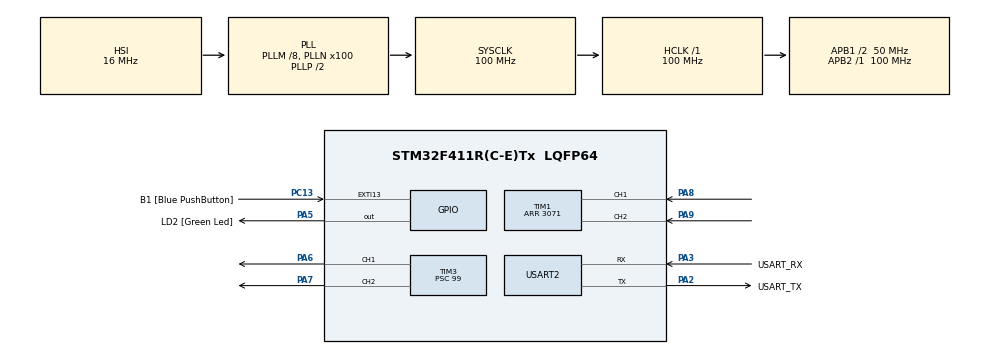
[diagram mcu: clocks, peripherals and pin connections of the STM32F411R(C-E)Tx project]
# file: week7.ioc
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Mcu.Family=STM32F4
RCC.CortexFreq_Value=100000000
PA14.GPIO_Label=TCK
TIM1.EncoderMode=TIM_ENCODERMODE_TI12
RCC.SYSCLKSource=RCC_SYSCLKSOURCE_PLLCLK
ProjectManager.StackSize=0x400
PH0\ -\ OSC_IN.Signal=RCC_OSC_IN
RCC.HCLKFreq_Value=100000000
RCC.APB2TimFreq_Value=100000000
TIM3.Period=10000
RCC.AHBFreq_Value=100000000
TIM3.Channel-PWM\ Generation1\ CH1=TIM_CHANNEL_1
RCC.HSE_VALUE=8000000
PC13-ANTI_TAMP.Signal=GPXTI13
PC14-OSC32_IN.Mode=LSE-External-Oscillator
PA14.Mode=Serial_Wire
TIM3.Prescaler=99
NVIC.TIM2_IRQn=true\:0\:0\:false\:false\:true\:true\:true
PA8.Signal=S_TIM1_CH1
SH.S_TIM3_CH1.0=TIM3_CH1,PWM Generation1 CH1
RCC.FLatency-AdvancedSettings=FLASH_LATENCY_3
Mcu.Package=LQFP64
TIM2.Prescaler=99
PA6.Signal=S_TIM3_CH1
USART2.VirtualMode=VM_ASYNC
PA2.GPIO_Label=USART_TX
RCC.APB1TimFreq_Value=100000000
TIM3.Pulse-PWM\ Generation2\ CH2=5000
TIM1.Period=3071
VP_TIM3_VS_ClockSourceINT.Mode=Internal
PA3.Signal=USART2_RX
PB3.GPIO_Label=SWO
PC15-OSC32_OUT.Mode=LSE-External-Oscillator
PC13-ANTI_TAMP.GPIO_Label=B1 [Blue PushButton]
PH1\ -\ OSC_OUT.Mode=HSE-External-Clock-Source
RCC.APB1CLKDivider=RCC_HCLK_DIV2
PC14-OSC32_IN.Signal=RCC_OSC32_IN
PA13.Signal=SYS_JTMS-SWDIO
PA3.Mode=Asynchronous
PH0\ -\ OSC_IN.Mode=HSE-External-Clock-Source
TIM3.Pulse-PWM\ Generation1\ CH1=5000
SH.S_TIM1_CH1.0=TIM1_CH1,Encoder_Interface
ProjectManager.TargetToolchain=STM32CubeIDE
PA9.Signal=S_TIM1_CH2
PC15-OSC32_OUT.Signal=RCC_OSC32_OUT
PA5.Signal=GPIO_Output
SH.S_TIM3_CH2.0=TIM3_CH2,PWM Generation2 CH2
PH1\ -\ OSC_OUT.Signal=RCC_OSC_OUT
board=NUCLEO-F411RE
RCC.VCOOutputFreq_Value=200000000
NVIC.TIM3_IRQn=true\:0\:0\:false\:false\:true\:true\:true
RCC.APB2Freq_Value=100000000
SH.S_TIM1_CH2.0=TIM1_CH2,Encoder_Interface
VP_TIM2_VS_ClockSourceINT.Mode=Internal
TIM2.Period=10000
PA13.Mode=Serial_Wire
Mcu.Name=STM32F411R(C-E)Tx
PA13.GPIO_Label=TMS
PA2.Signal=USART2_TX
RCC.48MHZClocksFreq_Value=50000000
PB3.Signal=SYS_JTDO-SWO
RCC.SYSCLKFreq_VALUE=100000000
PA5.GPIO_Label=LD2 [Green Led]
PC13-ANTI_TAMP.GPIO_ModeDefaultEXTI=GPIO_MODE_IT_FALLING
PA14.Signal=SYS_JTCK-SWCLK
ProjectManager.HeapSize=0x200
RCC.HSI_VALUE=16000000
NVIC.PriorityGroup=NVIC_PRIORITYGROUP_0
TIM3.Channel-PWM\ Generation2\ CH2=TIM_CHANNEL_2
RCC.PLLM=8
RCC.PLLN=100
PA2.Mode=Asynchronous
RCC.APB1Freq_Value=50000000
PA3.GPIO_Label=USART_RX
PA7.Signal=S_TIM3_CH2

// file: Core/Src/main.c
/* USER CODE BEGIN Header */
/**
 ******************************************************************************
 * @file           : main.c
 * @brief          : Main program body
 ******************************************************************************
 * @attention
 *
 * <h2><center>&copy; Copyright (c) 2021 STMicroelectronics.
 * All rights reserved.</center></h2>
 *
 * This software component is licensed by ST under BSD 3-Clause license,
 * the "License"; You may not use this file except in compliance with the
 * License. You may obtain a copy of the License at:
 *                        opensource.org/licenses/BSD-3-Clause
 *
 ******************************************************************************
 */
/* USER CODE END Header */
#include "main.h"

TIM_HandleTypeDef htim1;
TIM_HandleTypeDef htim2;
TIM_HandleTypeDef htim3;

UART_HandleTypeDef huart2;

/* USER CODE BEGIN PV */
uint64_t _micros = 0;
float EncoderVel = 0;
float rpm = 0;
float error =0;
float p_error=0;
float s_error=0;
float setpoint = 30;
uint16_t PWMOut =10000;
float K_P = 160;
float K_I = 0.1;
float K_D = 10;
uint64_t Timestamp_Encoder = 0;
/* USER CODE END PV */

void SystemClock_Config(void);
static void MX_GPIO_Init(void);
static void MX_USART2_UART_Init(void);
static void MX_TIM1_Init(void);
static void MX_TIM2_Init(void);
static void MX_TIM3_Init(void);
/* USER CODE BEGIN PFP */
uint64_t micros();
float EncoderVelocity_Update();

/* USER CODE END PFP */

int main(void)
{

  /* MCU Configuration--------------------------------------------------------*/

  /* Reset of all peripherals, Initializes the Flash interface and the Systick. */
  HAL_Init();

  /* Configure the system clock */
  SystemClock_Config();

  /* Initialize all configured peripherals */
  MX_GPIO_Init();
  MX_USART2_UART_Init();
  MX_TIM1_Init();
  MX_TIM2_Init();
  MX_TIM3_Init();
  /* USER CODE BEGIN 2 */
	HAL_TIM_Base_Start_IT(&htim2);
	HAL_TIM_Encoder_Start(&htim1, TIM_CHANNEL_ALL);
	HAL_TIM_Base_Start(&htim3);
	HAL_TIM_PWM_Start(&htim3, TIM_CHANNEL_1);//pa6
	HAL_TIM_PWM_Start(&htim3, TIM_CHANNEL_2);//pa7
  /* USER CODE END 2 */

  /* Infinite loop */
	while (1)
	{

    /* USER CODE BEGIN 3 */

		//RAW Read
		if (micros() - Timestamp_Encoder >= 1000)
		{
			if(PWMOut >10000){
				PWMOut =10000;}
			if(PWMOut<-10000){
				PWMOut=-10000;
			}
			if(PWMOut <=10000 & PWMOut>=-10000)
			{
				Timestamp_Encoder = micros();
				EncoderVel = (EncoderVel * 249 + EncoderVelocity_Update()) / 250.0;
				if(setpoint>=0)
				{
					rpm = EncoderVel*60.0/3072.0;
					error = setpoint - rpm;
					s_error += error;
					PWMOut = (K_P*error)+(K_I*s_error)+(K_D*(error-p_error));
					__HAL_TIM_SET_COMPARE(&htim3, TIM_CHANNEL_1, PWMOut);
					__HAL_TIM_SET_COMPARE(&htim3, TIM_CHANNEL_2, 0);
					p_error = error;
				}
				if(setpoint<0)
				{
					rpm = EncoderVel*60.0/3072.0;
					error = fabs(setpoint)-fabs(rpm);
					s_error += error;
					PWMOut = (K_P*error)+(K_I*s_error)+(K_D*(error-p_error));
					__HAL_TIM_SET_COMPARE(&htim3, TIM_CHANNEL_1, 0);
					__HAL_TIM_SET_COMPARE(&htim3, TIM_CHANNEL_2, PWMOut);
					p_error = error;

				}
			}

//		}

		//Add LPF?
//		if (micros() - Timestamp_Encoder >= 100)
//		{
//			Timestamp_Encoder = micros();
//			EncoderVel = (EncoderVel * 99 + EncoderVelocity_Update()) / 100.0;
		}

	}
  /* USER CODE END 3 */
}

void SystemClock_Config(void)
{
  RCC_OscInitTypeDef RCC_OscInitStruct = {0};
  RCC_ClkInitTypeDef RCC_ClkInitStruct = {0};

  /** Configure the main internal regulator output voltage
  */
  __HAL_RCC_PWR_CLK_ENABLE();
  __HAL_PWR_VOLTAGESCALING_CONFIG(PWR_REGULATOR_VOLTAGE_SCALE1);
  /** Initializes the RCC Oscillators according to the specified parameters
  * in the RCC_OscInitTypeDef structure.
  */
  RCC_OscInitStruct.OscillatorType = RCC_OSCILLATORTYPE_HSI;
  RCC_OscInitStruct.HSIState = RCC_HSI_ON;
  RCC_OscInitStruct.HSICalibrationValue = RCC_HSICALIBRATION_DEFAULT;
  RCC_OscInitStruct.PLL.PLLState = RCC_PLL_ON;
  RCC_OscInitStruct.PLL.PLLSource = RCC_PLLSOURCE_HSI;
  RCC_OscInitStruct.PLL.PLLM = 8;
  RCC_OscInitStruct.PLL.PLLN = 100;
  RCC_OscInitStruct.PLL.PLLP = RCC_PLLP_DIV2;
  RCC_OscInitStruct.PLL.PLLQ = 4;
  if (HAL_RCC_OscConfig(&RCC_OscInitStruct) != HAL_OK)
  {
    Error_Handler();
  }
  /** Initializes the CPU, AHB and APB buses clocks
  */
  RCC_ClkInitStruct.ClockType = RCC_CLOCKTYPE_HCLK|RCC_CLOCKTYPE_SYSCLK
                              |RCC_CLOCKTYPE_PCLK1|RCC_CLOCKTYPE_PCLK2;
  RCC_ClkInitStruct.SYSCLKSource = RCC_SYSCLKSOURCE_PLLCLK;
  RCC_ClkInitStruct.AHBCLKDivider = RCC_SYSCLK_DIV1;
  RCC_ClkInitStruct.APB1CLKDivider = RCC_HCLK_DIV2;
  RCC_ClkInitStruct.APB2CLKDivider = RCC_HCLK_DIV1;

  if (HAL_RCC_ClockConfig(&RCC_ClkInitStruct, FLASH_LATENCY_3) != HAL_OK)
  {
    Error_Handler();
  }
}

static void MX_TIM1_Init(void)
{

  TIM_Encoder_InitTypeDef sConfig = {0};
  TIM_MasterConfigTypeDef sMasterConfig = {0};

  htim1.Instance = TIM1;
  htim1.Init.Prescaler = 0;
  htim1.Init.CounterMode = TIM_COUNTERMODE_UP;
  htim1.Init.Period = 3071;
  htim1.Init.ClockDivision = TIM_CLOCKDIVISION_DIV1;
  htim1.Init.RepetitionCounter = 0;
  htim1.Init.AutoReloadPreload = TIM_AUTORELOAD_PRELOAD_DISABLE;
  sConfig.EncoderMode = TIM_ENCODERMODE_TI12;
  sConfig.IC1Polarity = TIM_ICPOLARITY_RISING;
  sConfig.IC1Selection = TIM_ICSELECTION_DIRECTTI;
  sConfig.IC1Prescaler = TIM_ICPSC_DIV1;
  sConfig.IC1Filter = 0;
  sConfig.IC2Polarity = TIM_ICPOLARITY_RISING;
  sConfig.IC2Selection = TIM_ICSELECTION_DIRECTTI;
  sConfig.IC2Prescaler = TIM_ICPSC_DIV1;
  sConfig.IC2Filter = 0;
  if (HAL_TIM_Encoder_Init(&htim1, &sConfig) != HAL_OK)
  {
    Error_Handler();
  }
  sMasterConfig.MasterOutputTrigger = TIM_TRGO_RESET;
  sMasterConfig.MasterSlaveMode = TIM_MASTERSLAVEMODE_DISABLE;
  if (HAL_TIMEx_MasterConfigSynchronization(&htim1, &sMasterConfig) != HAL_OK)
  {
    Error_Handler();
  }

}

static void MX_TIM2_Init(void)
{

  TIM_ClockConfigTypeDef sClockSourceConfig = {0};
  TIM_MasterConfigTypeDef sMasterConfig = {0};

  htim2.Instance = TIM2;
  htim2.Init.Prescaler = 99;
  htim2.Init.CounterMode = TIM_COUNTERMODE_UP;
  htim2.Init.Period = 10000;
  htim2.Init.ClockDivision = TIM_CLOCKDIVISION_DIV1;
  htim2.Init.AutoReloadPreload = TIM_AUTORELOAD_PRELOAD_DISABLE;
  if (HAL_TIM_Base_Init(&htim2) != HAL_OK)
  {
    Error_Handler();
  }
  sClockSourceConfig.ClockSource = TIM_CLOCKSOURCE_INTERNAL;
  if (HAL_TIM_ConfigClockSource(&htim2, &sClockSourceConfig) != HAL_OK)
  {
    Error_Handler();
  }
  sMasterConfig.MasterOutputTrigger = TIM_TRGO_RESET;
  sMasterConfig.MasterSlaveMode = TIM_MASTERSLAVEMODE_DISABLE;
  if (HAL_TIMEx_MasterConfigSynchronization(&htim2, &sMasterConfig) != HAL_OK)
  {
    Error_Handler();
  }

}

static void MX_TIM3_Init(void)
{

  TIM_ClockConfigTypeDef sClockSourceConfig = {0};
  TIM_MasterConfigTypeDef sMasterConfig = {0};
  TIM_OC_InitTypeDef sConfigOC = {0};

  htim3.Instance = TIM3;
  htim3.Init.Prescaler = 99;
  htim3.Init.CounterMode = TIM_COUNTERMODE_UP;
  htim3.Init.Period = 10000;
  htim3.Init.ClockDivision = TIM_CLOCKDIVISION_DIV1;
  htim3.Init.AutoReloadPreload = TIM_AUTORELOAD_PRELOAD_DISABLE;
  if (HAL_TIM_Base_Init(&htim3) != HAL_OK)
  {
    Error_Handler();
  }
  sClockSourceConfig.ClockSource = TIM_CLOCKSOURCE_INTERNAL;
  if (HAL_TIM_ConfigClockSource(&htim3, &sClockSourceConfig) != HAL_OK)
  {
    Error_Handler();
  }
  if (HAL_TIM_PWM_Init(&htim3) != HAL_OK)
  {
    Error_Handler();
  }
  sMasterConfig.MasterOutputTrigger = TIM_TRGO_RESET;
  sMasterConfig.MasterSlaveMode = TIM_MASTERSLAVEMODE_DISABLE;
  if (HAL_TIMEx_MasterConfigSynchronization(&htim3, &sMasterConfig) != HAL_OK)
  {
    Error_Handler();
  }
  sConfigOC.OCMode = TIM_OCMODE_PWM1;
  sConfigOC.Pulse = 5000;
  sConfigOC.OCPolarity = TIM_OCPOLARITY_HIGH;
  sConfigOC.OCFastMode = TIM_OCFAST_DISABLE;
  if (HAL_TIM_PWM_ConfigChannel(&htim3, &sConfigOC, TIM_CHANNEL_1) != HAL_OK)
  {
    Error_Handler();
  }
  if (HAL_TIM_PWM_ConfigChannel(&htim3, &sConfigOC, TIM_CHANNEL_2) != HAL_OK)
  {
    Error_Handler();
  }
  HAL_TIM_MspPostInit(&htim3);

}

static void MX_USART2_UART_Init(void)
{

  huart2.Instance = USART2;
  huart2.Init.BaudRate = 115200;
  huart2.Init.WordLength = UART_WORDLENGTH_8B;
  huart2.Init.StopBits = UART_STOPBITS_1;
  huart2.Init.Parity = UART_PARITY_NONE;
  huart2.Init.Mode = UART_MODE_TX_RX;
  huart2.Init.HwFlowCtl = UART_HWCONTROL_NONE;
  huart2.Init.OverSampling = UART_OVERSAMPLING_16;
  if (HAL_UART_Init(&huart2) != HAL_OK)
  {
    Error_Handler();
  }

}

static void MX_GPIO_Init(void)
{
  GPIO_InitTypeDef GPIO_InitStruct = {0};

  /* GPIO Ports Clock Enable */
  __HAL_RCC_GPIOC_CLK_ENABLE();
  __HAL_RCC_GPIOH_CLK_ENABLE();
  __HAL_RCC_GPIOA_CLK_ENABLE();
  __HAL_RCC_GPIOB_CLK_ENABLE();

  /*Configure GPIO pin Output Level */
  HAL_GPIO_WritePin(LD2_GPIO_Port, LD2_Pin, GPIO_PIN_RESET);

  /*Configure GPIO pin : B1_Pin */
  GPIO_InitStruct.Pin = B1_Pin;
  GPIO_InitStruct.Mode = GPIO_MODE_IT_FALLING;
  GPIO_InitStruct.Pull = GPIO_NOPULL;
  HAL_GPIO_Init(B1_GPIO_Port, &GPIO_InitStruct);

  /*Configure GPIO pin : LD2_Pin */
  GPIO_InitStruct.Pin = LD2_Pin;
  GPIO_InitStruct.Mode = GPIO_MODE_OUTPUT_PP;
  GPIO_InitStruct.Pull = GPIO_NOPULL;
  GPIO_InitStruct.Speed = GPIO_SPEED_FREQ_LOW;
  HAL_GPIO_Init(LD2_GPIO_Port, &GPIO_InitStruct);

}

/* USER CODE BEGIN 4 */
#define  HTIM_ENCODER htim1
#define  MAX_SUBPOSITION_OVERFLOW 1536
#define  MAX_ENCODER_PERIOD 3072

float EncoderVelocity_Update()
{
	//Save Last state
	static uint32_t EncoderLastPosition = 0;
	static uint64_t EncoderLastTimestamp = 0;

	//read data
	uint32_t EncoderNowPosition = HTIM_ENCODER.Instance->CNT;
	uint64_t EncoderNowTimestamp = micros();

	int32_t EncoderPositionDiff;
	uint64_t EncoderTimeDiff;

	EncoderTimeDiff = EncoderNowTimestamp - EncoderLastTimestamp;
	EncoderPositionDiff = EncoderNowPosition - EncoderLastPosition;

	//compensate overflow and underflow
	if (EncoderPositionDiff >= MAX_SUBPOSITION_OVERFLOW)
	{
		EncoderPositionDiff -= MAX_ENCODER_PERIOD;
	}
	else if (-EncoderPositionDiff >= MAX_SUBPOSITION_OVERFLOW)
	{
		EncoderPositionDiff += MAX_ENCODER_PERIOD;
	}

	//Update Position and time
	EncoderLastPosition = EncoderNowPosition;
	EncoderLastTimestamp = EncoderNowTimestamp;

	//Calculate velocity
	//EncoderTimeDiff is in uS
	return (EncoderPositionDiff * 1000000) / (float) EncoderTimeDiff;

}

void HAL_TIM_PeriodElapsedCallback(TIM_HandleTypeDef *htim)
{
	if (htim == &htim2)
	{
		_micros += 4294967295;
	}
}
uint64_t micros()
{
	return _micros + htim2.Instance->CNT;
}
/* USER CODE END 4 */

void Error_Handler(void)
{
	__disable_irq();
	while (1)
	{
	}
}

/************************ (C) COPYRIGHT STMicroelectronics *****END OF FILE****/
